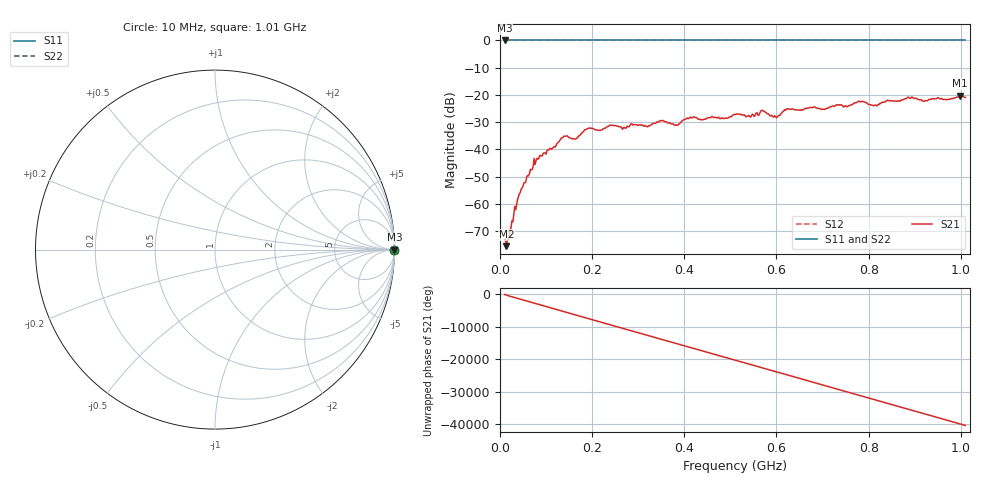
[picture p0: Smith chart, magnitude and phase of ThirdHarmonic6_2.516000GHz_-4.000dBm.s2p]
! 8/17/2025 4:55:15 AM
! C:\ANRITSUVNA\TEMP\TEMP.S2P
! CHANNEL.1
! TR.MEASUREMENT
! RAW.DATA
! RF.CORRECTION.OFF
! AVERAGING.OFF
! IF.BANDWIDTH: 5KHZ
! SWEEPTYPE:  FREQ.SWEEP(Linear)
! Reference Plane Port Info
! PORT:  PORT1  PORT2
! DISTANCE:  0  m  0  m
! TIME:  0  s  0  s
! PHASE.OFFSET:  0  deg.  0  deg.
! LOSS:  0  dB  0  dB
! REF.LOSS:  0  dB  0  dB
! REF.FREQ:  0  Hz  0  Hz
! Power Info
! POWER:  -20  dBm  -20  dBm
! EFF.POWER:  -20  dBm  -20  dBm
! SOURCE.ATTEN:  0  dB  0  dB
! TEST.ATTEN:  0  dB  0  dB
# GHZ S RI R 50.0
! FREQ.GHZ  S11RE  S11IM  S21RE  S21IM  S12RE  S12IM  S22RE  S22IM
!; PortSelection: Port_12
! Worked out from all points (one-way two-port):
!   501 points, 10 MHz to 1.01 GHz, reference 50 ohm
!   highest |S21| = -20.20 dB at 998 MHz (marker M1); lowest = -75.5 dB at 14 MHz (marker M2)
!   lowest |S11| = 0.0 dB at 10 MHz (marker M3)
!   |S11| at or under -10 dB: nowhere
!   |S22| runs from 0.0 to 0.0 dB; largest |S21 - S12| = 1.1
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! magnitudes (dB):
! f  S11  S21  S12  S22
! 10 MHz  0.0  -73.1  0.0  0.0
! 14 MHz  0.0  -75.5  0.0  0.0
! 18 MHz  0.0  -73.2  0.0  0.0
! 42 MHz  0.0  -56.2  0.0  0.0
! 78 MHz  0.0  -44.2  0.0  0.0
! 136 MHz  0.0  -35.7  0.0  0.0
! 164 MHz  0.0  -36.2  0.0  0.0
! 178 MHz  0.0  -33.9  0.0  0.0
! 344 MHz  0.0  -29.9  0.0  0.0
! 382 MHz  0.0  -30.9  0.0  0.0
! 410 MHz  0.0  -28.7  0.0  0.0
! 510 MHz  0.0  -27.1  0.0  0.0
! 540 MHz  0.0  -27.5  0.0  0.0
! 570 MHz  0.0  -25.7  0.0  0.0
! 598 MHz  0.0  -28.0  0.0  0.0
! 622 MHz  0.0  -25.1  0.0  0.0
! 678 MHz  0.0  -24.7  0.0  0.0
! 782 MHz  0.0  -22.5  0.0  0.0
! 814 MHz  0.0  -23.7  0.0  0.0
! 844 MHz  0.0  -22.1  0.0  0.0
! 998 MHz  0.0  -20.2  0.0  0.0
! 1.01 GHz  0.0  -20.9  0.0  0.0
